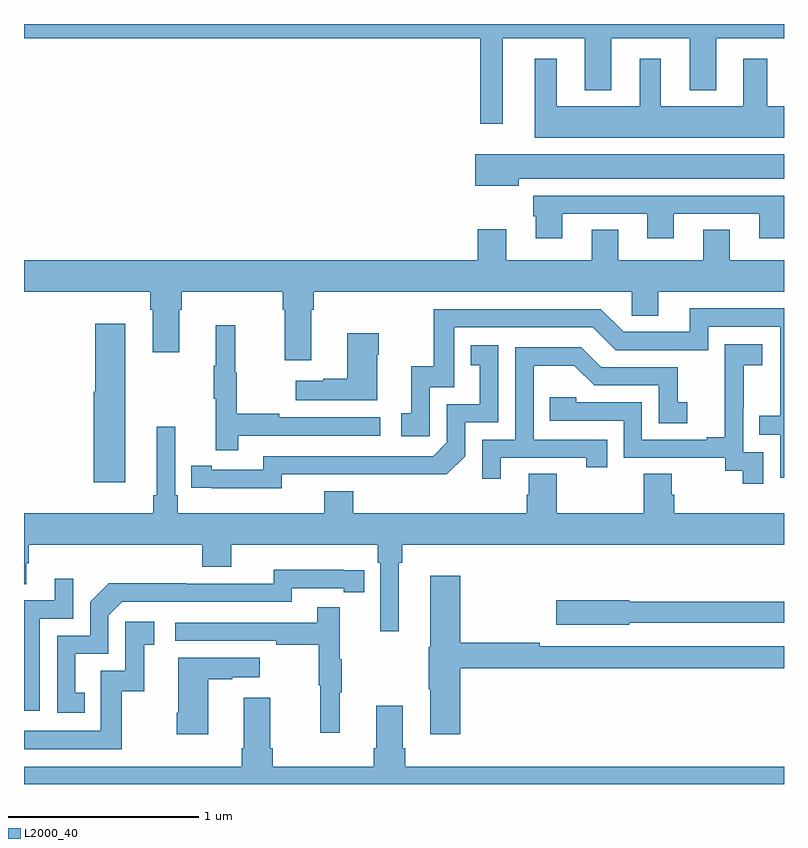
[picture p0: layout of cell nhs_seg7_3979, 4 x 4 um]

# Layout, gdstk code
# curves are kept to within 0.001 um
import gdstk
lib = gdstk.Library(unit=1e-6, precision=1e-09)
def P(c, l, *ps):  # polygons
    for p in ps: c.add(gdstk.Polygon(p, *l))
L2000_40 = (2000, 40)

nhs_seg7_3979 = lib.new_cell('nhs_seg7_3979')
P(nhs_seg7_3979, L2000_40, [(365.521,1025.924),(365.951,1025.924),(365.951,1025.651),(366.091,1025.651),(366.091,1025.924),(366.503,1025.924),(366.503,1025.651),(366.643,1025.651),(366.643,1025.924),(367,1025.924),(367,1026),(363,1026),(363,1025.924),(365.4,1025.924),(365.4,1025.475),(365.521,1025.475)],
  [(367,1025.566),(366.913,1025.566),(366.913,1025.818),(366.785,1025.818),(366.785,1025.566),(366.352,1025.566),(366.352,1025.818),(366.242,1025.818),(366.242,1025.566),(365.803,1025.566),(365.803,1025.818),(365.687,1025.818),(365.687,1025.402),(367,1025.402)],
  [(365.605,1025.186),(367,1025.186),(367,1025.314),(365.376,1025.314),(365.376,1025.15),(365.605,1025.15)],
  [(365.833,1025.001),(366.281,1025.001),(366.281,1024.872),(366.421,1024.872),(366.421,1025.001),(366.869,1025.001),(366.869,1024.872),(367,1024.872),(367,1025.097),(365.681,1025.097),(365.681,1024.989),(365.693,1024.989),(365.693,1024.872),(365.833,1024.872)],
  [(364.513,1024.496),(364.526,1024.496),(364.526,1024.592),(366.198,1024.592),(366.198,1024.465),(366.337,1024.465),(366.337,1024.592),(367,1024.592),(367,1024.756),(366.715,1024.756),(366.715,1024.916),(366.575,1024.916),(366.575,1024.756),(366.127,1024.756),(366.127,1024.916),(365.987,1024.916),(365.987,1024.756),(365.539,1024.756),(365.539,1024.921),(365.387,1024.921),(365.387,1024.756),(363,1024.756),(363,1024.592),(363.665,1024.592),(363.665,1024.496),(363.677,1024.496),(363.677,1024.272),(363.817,1024.272),(363.817,1024.496),(363.83,1024.496),(363.83,1024.592),(364.361,1024.592),(364.361,1024.496),(364.373,1024.496),(364.373,1024.23),(364.513,1024.23)],
  [(367,1024.503),(366.503,1024.503),(366.503,1024.38),(366.156,1024.38),(366.036,1024.5),(365.157,1024.5),(365.157,1024.198),(365.039,1024.198),(365.039,1023.951),(364.986,1023.951),(364.986,1023.831),(365.136,1023.831),(365.136,1024.089),(365.265,1024.089),(365.265,1024.404),(365.994,1024.404),(366.114,1024.284),(366.6,1024.284),(366.6,1024.407),(366.981,1024.407),(366.981,1023.938),(366.871,1023.938),(366.871,1023.837),(366.981,1023.837),(366.981,1023.612),(367,1023.612)],
  [(363.532,1024.423),(363.374,1024.423),(363.374,1024.065),(363.368,1024.065),(363.368,1023.588),(363.532,1023.588)],
  [(364.127,1023.834),(364.876,1023.834),(364.876,1023.93),(364.343,1023.93),(364.343,1023.95),(364.12,1023.95),(364.12,1024.164),(364.112,1024.164),(364.112,1024.414),(364.01,1024.414),(364.01,1024.201),(363.999,1024.201),(363.999,1024.027),(364.01,1024.027),(364.01,1023.756),(364.127,1023.756)],
  [(364.858,1024.259),(364.866,1024.259),(364.866,1024.372),(364.7,1024.372),(364.7,1024.133),(364.574,1024.133),(364.574,1024.123),(364.431,1024.123),(364.431,1024.019),(364.858,1024.019)],
  [(366.891,1023.747),(366.786,1023.747),(366.786,1023.977),(366.788,1023.977),(366.788,1024.205),(366.886,1024.205),(366.886,1024.315),(366.688,1024.315),(366.688,1024.109),(366.689,1024.109),(366.689,1023.826),(366.593,1023.826),(366.593,1023.813),(366.252,1023.813),(366.252,1024.008),(365.907,1024.008),(365.907,1024.035),(365.767,1024.035),(365.767,1023.912),(366.156,1023.912),(366.156,1023.717),(366.69,1023.717),(366.69,1023.649),(366.783,1023.649),(366.783,1023.579),(366.891,1023.579)],
  [(364.356,1023.63),(365.224,1023.629),(365.322,1023.726),(365.322,1023.903),(365.496,1023.903),(365.496,1024.309),(365.35,1024.309),(365.35,1024.203),(365.399,1024.203),(365.399,1023.999),(365.226,1023.999),(365.226,1023.798),(365.154,1023.726),(364.26,1023.726),(364.26,1023.654),(363.988,1023.654),(363.988,1023.674),(363.88,1023.674),(363.88,1023.558),(364.356,1023.557)],
  [(365.509,1023.717),(365.96,1023.717),(365.96,1023.666),(366.071,1023.666),(366.071,1023.813),(365.682,1023.813),(365.682,1024.202),(365.896,1024.202),(366,1024.098),(366.342,1024.098),(366.342,1023.9),(366.49,1023.9),(366.49,1024.009),(366.441,1024.009),(366.441,1024.194),(366.037,1024.194),(365.932,1024.299),(365.586,1024.299),(365.586,1023.813),(365.412,1023.813),(365.412,1023.606),(365.509,1023.606)],
  [(363,1023.052),(363.013,1023.052),(363.013,1023.162),(363.026,1023.162),(363.026,1023.26),(363.938,1023.26),(363.938,1023.143),(364.09,1023.143),(364.09,1023.26),(364.862,1023.26),(364.862,1023.164),(364.875,1023.164),(364.875,1022.805),(364.972,1022.805),(364.972,1023.164),(364.991,1023.164),(364.991,1023.26),(367,1023.26),(367,1023.424),(366.422,1023.424),(366.422,1023.522),(366.409,1023.522),(366.409,1023.632),(366.262,1023.632),(366.262,1023.424),(365.805,1023.424),(365.805,1023.632),(365.657,1023.632),(365.657,1023.522),(365.645,1023.522),(365.645,1023.424),(364.733,1023.424),(364.733,1023.541),(364.58,1023.541),(364.58,1023.424),(363.809,1023.424),(363.809,1023.52),(363.795,1023.52),(363.795,1023.88),(363.698,1023.88),(363.698,1023.52),(363.679,1023.52),(363.679,1023.424),(363,1023.424)],
  [(363.32,1022.481),(363.271,1022.481),(363.271,1022.685),(363.444,1022.685),(363.444,1022.886),(363.516,1022.958),(364.41,1022.958),(364.41,1023.03),(364.682,1023.03),(364.682,1023.01),(364.79,1023.01),(364.79,1023.126),(364.314,1023.127),(364.314,1023.054),(363.854,1023.054),(363.854,1023.056),(363.446,1023.056),(363.348,1022.958),(363.348,1022.781),(363.174,1022.781),(363.174,1022.376),(363.32,1022.376)],
  [(365.297,1022.608),(367,1022.608),(367,1022.724),(365.714,1022.724),(365.714,1022.744),(365.297,1022.744),(365.297,1023.097),(365.138,1023.097),(365.138,1022.721),(365.131,1022.721),(365.131,1022.5),(365.138,1022.5),(365.138,1022.262),(365.297,1022.262)],
  [(363.084,1022.871),(363.258,1022.871),(363.258,1023.079),(363.161,1023.079),(363.161,1022.967),(363,1022.967),(363,1022.385),(363.084,1022.385)],
  [(366.186,1022.85),(367,1022.85),(367,1022.959),(366.186,1022.959),(366.186,1022.967),(365.802,1022.967),(365.802,1022.837),(366.186,1022.837)],
  [(364.661,1022.483),(364.672,1022.483),(364.672,1022.657),(364.661,1022.657),(364.661,1022.929),(364.543,1022.929),(364.543,1022.85),(363.795,1022.85),(363.795,1022.754),(364.327,1022.754),(364.327,1022.734),(364.551,1022.734),(364.551,1022.52),(364.558,1022.52),(364.558,1022.271),(364.661,1022.271)],
  [(363.514,1022.487),(363.632,1022.487),(363.632,1022.733),(363.685,1022.733),(363.685,1022.854),(363.534,1022.854),(363.534,1022.595),(363.405,1022.595),(363.405,1022.28),(363,1022.28),(363,1022.184),(363.514,1022.184)],
  [(363.97,1022.551),(364.097,1022.551),(364.097,1022.561),(364.24,1022.561),(364.24,1022.665),(363.812,1022.665),(363.812,1022.374),(363.805,1022.374),(363.805,1022.262),(363.97,1022.262)],
  [(367,1022.092),(365.006,1022.092),(365.006,1022.188),(364.993,1022.188),(364.993,1022.413),(364.853,1022.413),(364.853,1022.188),(364.841,1022.188),(364.841,1022.092),(364.31,1022.092),(364.31,1022.188),(364.297,1022.188),(364.297,1022.455),(364.157,1022.455),(364.157,1022.188),(364.145,1022.188),(364.145,1022.092),(363,1022.092),(363,1022),(367,1022)])

lib.write_gds('nhs_seg7_3979.gds')
